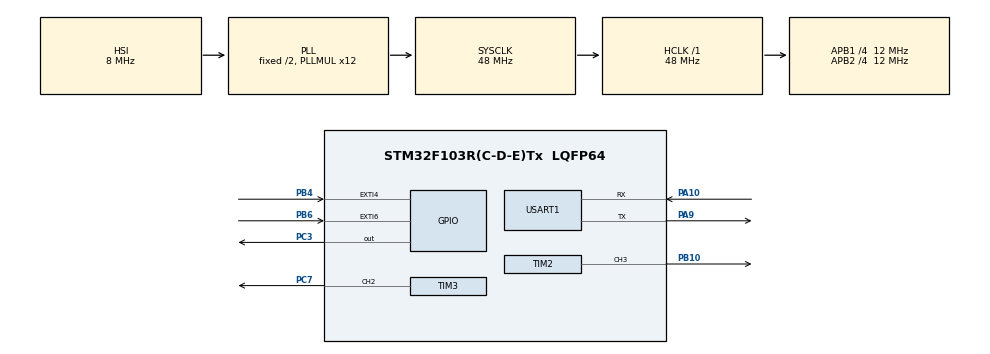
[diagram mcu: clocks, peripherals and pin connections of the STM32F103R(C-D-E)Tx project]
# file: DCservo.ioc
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Mcu.Family=STM32F1
Mcu.Name=STM32F103R(C-D-E)Tx
Mcu.Package=LQFP64
NVIC.EXTI4_IRQn=true\:0\:0\:false\:false\:true\:true\:true
NVIC.EXTI9_5_IRQn=true\:0\:0\:false\:false\:true\:true\:true
NVIC.PriorityGroup=NVIC_PRIORITYGROUP_4
NVIC.TIM4_IRQn=true\:0\:0\:false\:false\:true\:true\:true
NVIC.TIM5_IRQn=true\:0\:0\:false\:false\:true\:true\:true
NVIC.USART1_IRQn=true\:0\:0\:false\:false\:true\:true\:true
PA10.Mode=Asynchronous
PA10.Signal=USART1_RX
PA13.Mode=Serial_Wire
PA13.Signal=SYS_JTMS-SWDIO
PA14.Mode=Serial_Wire
PA14.Signal=SYS_JTCK-SWCLK
PA9.Mode=Asynchronous
PA9.Signal=USART1_TX
PB10.Signal=S_TIM2_CH3
PB4.GPIO_ModeDefaultEXTI=GPIO_MODE_IT_RISING_FALLING
PB4.GPIO_PuPd=GPIO_PULLUP
PB4.Signal=GPXTI4
PB6.GPIO_ModeDefaultEXTI=GPIO_MODE_IT_RISING_FALLING
PB6.GPIO_PuPd=GPIO_PULLUP
PB6.Signal=GPXTI6
PC3.GPIO_PuPd=GPIO_NOPULL
PC3.Signal=GPIO_Output
PC7.Signal=S_TIM3_CH2
ProjectManager.HeapSize=0x200
ProjectManager.StackSize=0x400
ProjectManager.TargetToolchain=MDK-ARM V5
RCC.AHBFreq_Value=48000000
RCC.APB1CLKDivider=RCC_HCLK_DIV4
RCC.APB1Freq_Value=12000000
RCC.APB1TimFreq_Value=24000000
RCC.APB2CLKDivider=RCC_HCLK_DIV4
RCC.APB2Freq_Value=12000000
RCC.APB2TimFreq_Value=24000000
RCC.HCLKFreq_Value=48000000
RCC.PLLMUL=RCC_PLL_MUL12
RCC.SYSCLKFreq_VALUE=48000000
RCC.SYSCLKSource=RCC_SYSCLKSOURCE_PLLCLK
RCC.USBFreq_Value=48000000
SH.S_TIM2_CH3.0=TIM2_CH3,PWM Generation3 CH3
SH.S_TIM3_CH2.0=TIM3_CH2,PWM Generation2 CH2
TIM2.Channel-PWM\ Generation3\ CH3=TIM_CHANNEL_3
TIM2.Period=100
TIM2.Prescaler=11
TIM3.Channel-PWM\ Generation2\ CH2=TIM_CHANNEL_2
TIM3.Period=100
TIM3.Prescaler=11
TIM4.Period=4
TIM4.Prescaler=23999
TIM5.Period=9
TIM5.Prescaler=23999
USART1.VirtualMode=VM_ASYNC
VP_TIM4_VS_ClockSourceINT.Mode=Internal
VP_TIM5_VS_ClockSourceINT.Mode=Internal
board=custom

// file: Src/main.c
/* USER CODE BEGIN Header */
/**
  ******************************************************************************
  * @file           : main.c
  * @brief          : Main program body
  ******************************************************************************
  ** This notice applies to any and all portions of this file
  * that are not between comment pairs USER CODE BEGIN and
  * USER CODE END. Other portions of this file, whether
  * inserted by the user or by software development tools
  * are owned by their respective copyright owners.
  *
  * COPYRIGHT(c) 2019 STMicroelectronics
  *
  * Redistribution and use in source and binary forms, with or without modification,
  * are permitted provided that the following conditions are met:
  *   1. Redistributions of source code must retain the above copyright notice,
  *      this list of conditions and the following disclaimer.
  *   2. Redistributions in binary form must reproduce the above copyright notice,
  *      this list of conditions and the following disclaimer in the documentation
  *      and/or other materials provided with the distribution.
  *   3. Neither the name of STMicroelectronics nor the names of its contributors
  *      may be used to endorse or promote products derived from this software
  *      without specific prior written permission.
  *
  * THIS SOFTWARE IS PROVIDED BY THE COPYRIGHT HOLDERS AND CONTRIBUTORS "AS IS"
  * AND ANY EXPRESS OR IMPLIED WARRANTIES, INCLUDING, BUT NOT LIMITED TO, THE
  * IMPLIED WARRANTIES OF MERCHANTABILITY AND FITNESS FOR A PARTICULAR PURPOSE ARE
  * DISCLAIMED. IN NO EVENT SHALL THE COPYRIGHT HOLDER OR CONTRIBUTORS BE LIABLE
  * FOR ANY DIRECT, INDIRECT, INCIDENTAL, SPECIAL, EXEMPLARY, OR CONSEQUENTIAL
  * DAMAGES (INCLUDING, BUT NOT LIMITED TO, PROCUREMENT OF SUBSTITUTE GOODS OR
  * SERVICES; LOSS OF USE, DATA, OR PROFITS; OR BUSINESS INTERRUPTION) HOWEVER
  * CAUSED AND ON ANY THEORY OF LIABILITY, WHETHER IN CONTRACT, STRICT LIABILITY,
  * OR TORT (INCLUDING NEGLIGENCE OR OTHERWISE) ARISING IN ANY WAY OUT OF THE USE
  * OF THIS SOFTWARE, EVEN IF ADVISED OF THE POSSIBILITY OF SUCH DAMAGE.
  *
  ******************************************************************************
  */
/* USER CODE END Header */

#include "main.h"

/* USER CODE BEGIN Includes */
#include "string.h"
#include "stdio.h"
#include "stdlib.h"
#include "stdbool.h"
#include "stdint.h"
/* USER CODE END Includes */

#define pi 3.1415
#define p2r pi/2000

float Kp = 2.0;
float Ki = 0.0;
float Kd = 0.1;
float dt = 0.005;

#define MAX_PWM 99
#define MIN_PWM 0

/* USER CODE BEGIN PD */
float integral = 0.0;  // Giá trị tích phân
float prev_error = 0.0;  // Sai số trước đó
int16_t mv_pwm;
float setpoint_rad;
float setpoint_mm = 100;

/* USER CODE END PD */

TIM_HandleTypeDef htim2;
TIM_HandleTypeDef htim3;
TIM_HandleTypeDef htim4;
TIM_HandleTypeDef htim5;

UART_HandleTypeDef huart1;

/* USER CODE BEGIN PV */
int32_t PosCnt,Cnttmp,speed;
int16_t CountValue=0,RealVel,DesiredSpeed,HILIM,LOLIM;
uint16_t AngPos1, AngPos0,CntVel;
uint8_t PreviousState,pwm,Speedmode,tick=0;
bool run=false, dir;
float CurPos=0,DesiredPos,CurVel;
char Rx_indx, Rx_Buffer[20],Rx_data[2];

float cv_rad;
float setpoint = 380;
float error, proportional, derivative;

typedef enum
{
  RIGHT_DIRECTION,
  LEFT_DIRECTION
} enum_dir_t;
/* USER CODE END PV */

void SystemClock_Config(void);
static void MX_GPIO_Init(void);
static void MX_TIM2_Init(void);
static void MX_TIM3_Init(void);
static void MX_USART1_UART_Init(void);
static void MX_TIM4_Init(void);
static void MX_TIM5_Init(void);
/* USER CODE BEGIN PFP */
void HAL_TIM_MspPostInit(TIM_HandleTypeDef *htim);
int SetVelLow(float CurrentPos, float Pos);
int SetVelMid(float CurrentPos, float Pos, float CurrentVel);
int SetVelHigh(float CurrentPos, float Pos, float CurrentVel);
/* USER CODE END PFP */

/* USER CODE BEGIN 0 */
#ifdef __GNUC__
	#define PUTCHAR_PROTOTYPE int __io_putchar(int ch)
#else
	#define PUTCHAR_PROTOTYPE int fputc(int ch, FILE *f)
	#define GETCHAR_PROTOTYPE int fgetc(FILE *f)
#endif
	PUTCHAR_PROTOTYPE
	{
		HAL_UART_Transmit(&huart1, (uint8_t*)&ch,1,100);
		return ch;
	}

/**
 * @brief Turn off DC motor and test
 *
 */
void test_dc_motor_off(void)
{
  // Turn on PC3
  HAL_GPIO_WritePin(GPIOC, GPIO_PIN_3, GPIO_PIN_SET);

  // Turn on PWM
  __HAL_TIM_SetCompare(&htim3, TIM_CHANNEL_2,0); // set pwm
}

void test_motor_control(enum_dir_t direction, int16_t pwm)
{
  // Turn on PC3
  HAL_GPIO_WritePin(GPIOC, GPIO_PIN_3, (uint8_t)(direction));
  __HAL_TIM_SetCompare(&htim3, TIM_CHANNEL_2,pwm); // set pwm
}

int16_t PID(float pos_sp, float pos_cv)
{
  error = pos_sp - pos_cv;

  integral = integral + error * dt;

  derivative = (error - prev_error) / dt;

  int16_t mv = (int16_t)(Kp*error + Ki*integral + Kd*derivative);

  prev_error = error;

  if (mv > 99)
  {
    mv = 99;
  }
  else if (mv < -99)
  {
    mv = -99;
  }

  // Return value
  return mv;
}

	// Ham ngat Uart
void HAL_UART_RxCpltCallback(UART_HandleTypeDef *huart)
	{
		uint8_t i;
		if(huart->Instance == USART1) //uart1
		{
				if(Rx_indx==0) {for (i=0;i<20;i++) Rx_Buffer[i] = 0;}

		switch(Rx_data[0]) {
            /* dung dong co */
            case 'e':
                run =false;
                break;

            case 'p':
                Kp = atoi(Rx_Buffer);
                memset(Rx_Buffer, 0, sizeof(Rx_Buffer));
                Rx_indx = 0;
                break;

            case 'i':
                Ki = atoi(Rx_Buffer);
                memset(Rx_Buffer, 0, sizeof(Rx_Buffer));
                Rx_indx = 0;
                break;

            case 'd':
                Kd = atoi(Rx_Buffer);
                memset(Rx_Buffer, 0, sizeof(Rx_Buffer));
                Rx_indx = 0;
                break;

            /* dong co chay */
            case 'r':
                run = true;
                break;
            case 'b':
//								reset();
								break;
            case 's':
                setpoint_rad = atoi(Rx_Buffer);
                memset(Rx_Buffer, 0, sizeof(Rx_Buffer));
                Rx_indx = 0;
                break;
            case 'v':
                //DesiredSpeed = atoi(Rx_Buffer);
                setpoint = atoi(Rx_Buffer);
                memset(Rx_Buffer, 0, sizeof(Rx_Buffer));
                Rx_indx = 0;
                break;
            case '0':
            case '1':
            case '2':
            case '3':
            case '4':
            case '5':
            case '6':
            case '7':
            case '8':
            case '9':
            case '.':
            case '-':
                Rx_Buffer[Rx_indx++] |= Rx_data[0];
                break;
            default:
                break;
        }
				HAL_UART_Receive_IT(&huart1,(uint8_t*)Rx_data,1);
		}
	}

void EXTI9_5_IRQHandler(void)	// doc encoder
{
  /* USER CODE BEGIN EXTI9_5_IRQn 0 */
unsigned char State0;
	State0 = (State0<<1) | HAL_GPIO_ReadPin(GPIOB, GPIO_PIN_4);
	State0 = (State0<<1) | HAL_GPIO_ReadPin(GPIOB, GPIO_PIN_6);
	State0 = State0&0x03;
	switch (State0) {
		case 0:
			if(PreviousState==1) CountValue++;
			else CountValue--;
		break;
		case 1:
			if(PreviousState==3) CountValue++;
			else CountValue--;
		break;
		case 2:
			if(PreviousState==0) CountValue++;
			else CountValue--;
		break;
		case 3:
			if(PreviousState==2) CountValue++;
			else CountValue--;
		break;
		}
	PreviousState = State0;
	CntVel++;
	if (CountValue>=2000) {
		CountValue = 0;
		PosCnt++;
	}
	else if	(CountValue<=-2000) {
		CountValue = 0;
		PosCnt--;
	}
  /* USER CODE END EXTI4_IRQn 0 */
  HAL_GPIO_EXTI_IRQHandler(GPIO_PIN_6);
  /* USER CODE BEGIN EXTI4_IRQn 1 */
}

/**
* @brief This function handles EXTI line3 interrupt.
*/
void EXTI4_IRQHandler(void)	// doc encoder
{
  /* USER CODE BEGIN EXTI4_IRQn 0 */
	// CHANNEL A
unsigned char State1;
	State1 = (State1<<1) | HAL_GPIO_ReadPin(GPIOB, GPIO_PIN_4);
	State1 = (State1<<1) | HAL_GPIO_ReadPin(GPIOB, GPIO_PIN_6);
	State1 = State1&0x03;
	switch (State1) {
		case 0:
			if(PreviousState==1) CountValue++;
			else CountValue--;
		break;
		case 1:
			if(PreviousState==3) CountValue++;
			else CountValue--;
		break;
		case 2:
			if(PreviousState==0) CountValue++;
			else CountValue--;
		break;
		case 3:
			if(PreviousState==2) CountValue++;
			else CountValue--;
		break;
		}
	PreviousState = State1;
	CntVel++;
	if (CountValue>=2000) {
		CountValue = 0;
		PosCnt++;
	}
	else if	(CountValue<=-2000) {
		CountValue = 0;
		PosCnt--;
	}
  /* USER CODE END EXTI3_IRQn 0 */
  HAL_GPIO_EXTI_IRQHandler(GPIO_PIN_4);
  /* USER CODE BEGIN EXTI3_IRQn 1 */

  /* USER CODE END EXTI3_IRQn 1 */
}

void HAL_TIM_PeriodElapsedCallback(TIM_HandleTypeDef *htim) {	// ngat timer 4 tinh van toc
	if(htim->Instance==TIM4)	// ngat do timer 4	5ms
	{
		CurPos = PosCnt*2*pi+CountValue*p2r;	// Position calculation
		Cnttmp = CntVel;
		CntVel = 0;
		RealVel = Cnttmp*6;										//RPM
		CurVel = Cnttmp*pi/5;								//rad/s

    if (run == true)
    {
      mv_pwm = PID(setpoint_rad, CurPos);

      if (mv_pwm > 0)
      {
        test_motor_control(LEFT_DIRECTION, mv_pwm);
      }
      else
      {
        test_motor_control(RIGHT_DIRECTION, mv_pwm*(-1));
      }

    }
    else
    {
      test_dc_motor_off();
    }

		return;
	}
	if(htim->Instance==TIM5)
	{
//		ut=5*pi*time;	// ham chay theo thoi gian u(t)=5*pi(t);	// timer 5
//		time+=0.01;
			tick++;
			if (run==1) {
				if(DesiredSpeed<=340) Speedmode = 1;
				else if((DesiredSpeed>340)&&(DesiredSpeed<750))	Speedmode = 2;
				else if(DesiredSpeed>=750) Speedmode = 4;
				}
			if (run==0){
					pwm = 0;
					Speedmode =0;
			}
			if ((run==1)&&(tick==5)){
				tick=0;
				printf("V%d\r \n",RealVel);
				printf("P%f\r \n",CurPos);
			}
	}

}
int SetVelLow(float CurrentPos, float Pos)
{
	HILIM=10,LOLIM=0;
	float uout;

	// STUDENTS ADD CODE FOR SLOW SPEED HERE

	if (uout>HILIM) uout=HILIM;
	else if(uout<LOLIM) uout=LOLIM;
	return uout;
}
int SetVelMid(float CurrentPos, float Pos, float CurrentVel)
{
	HILIM=20,LOLIM=0;
	float uout;

	// STUDENTS ADD CODES FOR MIDDLE SPEED HERE

	if (uout>HILIM) uout=HILIM;
	else if(uout<LOLIM) uout=LOLIM;
	return uout;
}
int SetVelHigh(float CurrentPos, float Pos, float CurrentVel)
{
	HILIM=99,LOLIM=0;
	float uout;

	// STUDENTS ADD CODES FOR HIGH SPEED HERE

	if (uout>HILIM) uout=HILIM;
	else if( uout<LOLIM) uout=LOLIM;

	return uout;
}

/**
 * @brief Turn on DC motor and test
 *
 */
void test_dc_motor_on(void)
{
  // Turn on PC3
  HAL_GPIO_WritePin(GPIOC, GPIO_PIN_3, GPIO_PIN_SET);

  // Turn on PWM
  __HAL_TIM_SetCompare(&htim3, TIM_CHANNEL_2,99); // set pwm
}

/* USER CODE END 0 */

int main(void)
{

  /* MCU Configuration--------------------------------------------------------*/

  /* Reset of all peripherals, Initializes the Flash interface and the Systick. */
  HAL_Init();

  /* Configure the system clock */
  SystemClock_Config();

  /* Initialize all configured peripherals */
  MX_GPIO_Init();
  MX_TIM2_Init();
  MX_TIM3_Init();
  MX_USART1_UART_Init();
  MX_TIM4_Init();
  MX_TIM5_Init();
  /* USER CODE BEGIN 2 */
	//HAL_TIM_PWM_Start(&htim2, TIM_CHANNEL_3);	// khoi tao timer 2
	HAL_TIM_PWM_Start(&htim3, TIM_CHANNEL_2);	// khoi tao timer 3
	HAL_TIM_Base_Start_IT(&htim4);						// khoi tao timer 4
	HAL_TIM_Base_Start_IT(&htim5);						// khoi tao timer 5
	HAL_UART_Receive_IT(&huart1,(uint8_t*)Rx_data,1);
  /* USER CODE END 2 */
  /* Infinite loop */
  while (1)
  {

  }
}

void SystemClock_Config(void)
{
  RCC_OscInitTypeDef RCC_OscInitStruct = {0};
  RCC_ClkInitTypeDef RCC_ClkInitStruct = {0};

  /**Initializes the CPU, AHB and APB busses clocks
  */
  RCC_OscInitStruct.OscillatorType = RCC_OSCILLATORTYPE_HSI;
  RCC_OscInitStruct.HSIState = RCC_HSI_ON;
  RCC_OscInitStruct.HSICalibrationValue = RCC_HSICALIBRATION_DEFAULT;
  RCC_OscInitStruct.PLL.PLLState = RCC_PLL_ON;
  RCC_OscInitStruct.PLL.PLLSource = RCC_PLLSOURCE_HSI_DIV2;
  RCC_OscInitStruct.PLL.PLLMUL = RCC_PLL_MUL12;
  if (HAL_RCC_OscConfig(&RCC_OscInitStruct) != HAL_OK)
  {
    Error_Handler();
  }
  /**Initializes the CPU, AHB and APB busses clocks
  */
  RCC_ClkInitStruct.ClockType = RCC_CLOCKTYPE_HCLK|RCC_CLOCKTYPE_SYSCLK
                              |RCC_CLOCKTYPE_PCLK1|RCC_CLOCKTYPE_PCLK2;
  RCC_ClkInitStruct.SYSCLKSource = RCC_SYSCLKSOURCE_PLLCLK;
  RCC_ClkInitStruct.AHBCLKDivider = RCC_SYSCLK_DIV1;
  RCC_ClkInitStruct.APB1CLKDivider = RCC_HCLK_DIV4;
  RCC_ClkInitStruct.APB2CLKDivider = RCC_HCLK_DIV4;

  if (HAL_RCC_ClockConfig(&RCC_ClkInitStruct, FLASH_LATENCY_1) != HAL_OK)
  {
    Error_Handler();
  }
}

static void MX_TIM2_Init(void)
{

  TIM_MasterConfigTypeDef sMasterConfig = {0};
  TIM_OC_InitTypeDef sConfigOC = {0};

  htim2.Instance = TIM2;
  htim2.Init.Prescaler = 11;
  htim2.Init.CounterMode = TIM_COUNTERMODE_UP;
  htim2.Init.Period = 100;
  htim2.Init.ClockDivision = TIM_CLOCKDIVISION_DIV1;
  htim2.Init.AutoReloadPreload = TIM_AUTORELOAD_PRELOAD_DISABLE;
  if (HAL_TIM_PWM_Init(&htim2) != HAL_OK)
  {
    Error_Handler();
  }
  sMasterConfig.MasterOutputTrigger = TIM_TRGO_RESET;
  sMasterConfig.MasterSlaveMode = TIM_MASTERSLAVEMODE_DISABLE;
  if (HAL_TIMEx_MasterConfigSynchronization(&htim2, &sMasterConfig) != HAL_OK)
  {
    Error_Handler();
  }
  sConfigOC.OCMode = TIM_OCMODE_PWM1;
  sConfigOC.Pulse = 0;
  sConfigOC.OCPolarity = TIM_OCPOLARITY_HIGH;
  sConfigOC.OCFastMode = TIM_OCFAST_DISABLE;
  if (HAL_TIM_PWM_ConfigChannel(&htim2, &sConfigOC, TIM_CHANNEL_3) != HAL_OK)
  {
    Error_Handler();
  }
  HAL_TIM_MspPostInit(&htim2);

}

static void MX_TIM3_Init(void)
{

  TIM_MasterConfigTypeDef sMasterConfig = {0};
  TIM_OC_InitTypeDef sConfigOC = {0};

  htim3.Instance = TIM3;
  htim3.Init.Prescaler = 11;
  htim3.Init.CounterMode = TIM_COUNTERMODE_UP;
  htim3.Init.Period = 100;
  htim3.Init.ClockDivision = TIM_CLOCKDIVISION_DIV1;
  htim3.Init.AutoReloadPreload = TIM_AUTORELOAD_PRELOAD_DISABLE;
  if (HAL_TIM_PWM_Init(&htim3) != HAL_OK)
  {
    Error_Handler();
  }
  sMasterConfig.MasterOutputTrigger = TIM_TRGO_RESET;
  sMasterConfig.MasterSlaveMode = TIM_MASTERSLAVEMODE_DISABLE;
  if (HAL_TIMEx_MasterConfigSynchronization(&htim3, &sMasterConfig) != HAL_OK)
  {
    Error_Handler();
  }
  sConfigOC.OCMode = TIM_OCMODE_PWM1;
  sConfigOC.Pulse = 0;
  sConfigOC.OCPolarity = TIM_OCPOLARITY_HIGH;
  sConfigOC.OCFastMode = TIM_OCFAST_DISABLE;
  if (HAL_TIM_PWM_ConfigChannel(&htim3, &sConfigOC, TIM_CHANNEL_2) != HAL_OK)
  {
    Error_Handler();
  }
  HAL_TIM_MspPostInit(&htim3);

}

static void MX_TIM4_Init(void)
{

  TIM_ClockConfigTypeDef sClockSourceConfig = {0};
  TIM_MasterConfigTypeDef sMasterConfig = {0};

  htim4.Instance = TIM4;
  htim4.Init.Prescaler = 23999;
  htim4.Init.CounterMode = TIM_COUNTERMODE_UP;
  htim4.Init.Period = 4;
  htim4.Init.ClockDivision = TIM_CLOCKDIVISION_DIV1;
  htim4.Init.AutoReloadPreload = TIM_AUTORELOAD_PRELOAD_DISABLE;
  if (HAL_TIM_Base_Init(&htim4) != HAL_OK)
  {
    Error_Handler();
  }
  sClockSourceConfig.ClockSource = TIM_CLOCKSOURCE_INTERNAL;
  if (HAL_TIM_ConfigClockSource(&htim4, &sClockSourceConfig) != HAL_OK)
  {
    Error_Handler();
  }
  sMasterConfig.MasterOutputTrigger = TIM_TRGO_RESET;
  sMasterConfig.MasterSlaveMode = TIM_MASTERSLAVEMODE_DISABLE;
  if (HAL_TIMEx_MasterConfigSynchronization(&htim4, &sMasterConfig) != HAL_OK)
  {
    Error_Handler();
  }

}

static void MX_TIM5_Init(void)
{

  TIM_ClockConfigTypeDef sClockSourceConfig = {0};
  TIM_MasterConfigTypeDef sMasterConfig = {0};

  htim5.Instance = TIM5;
  htim5.Init.Prescaler = 23999;
  htim5.Init.CounterMode = TIM_COUNTERMODE_UP;
  htim5.Init.Period = 9;
  htim5.Init.ClockDivision = TIM_CLOCKDIVISION_DIV1;
  htim5.Init.AutoReloadPreload = TIM_AUTORELOAD_PRELOAD_DISABLE;
  if (HAL_TIM_Base_Init(&htim5) != HAL_OK)
  {
    Error_Handler();
  }
  sClockSourceConfig.ClockSource = TIM_CLOCKSOURCE_INTERNAL;
  if (HAL_TIM_ConfigClockSource(&htim5, &sClockSourceConfig) != HAL_OK)
  {
    Error_Handler();
  }
  sMasterConfig.MasterOutputTrigger = TIM_TRGO_RESET;
  sMasterConfig.MasterSlaveMode = TIM_MASTERSLAVEMODE_DISABLE;
  if (HAL_TIMEx_MasterConfigSynchronization(&htim5, &sMasterConfig) != HAL_OK)
  {
    Error_Handler();
  }

}

static void MX_USART1_UART_Init(void)
{

  huart1.Instance = USART1;
  huart1.Init.BaudRate = 115200;
  huart1.Init.WordLength = UART_WORDLENGTH_8B;
  huart1.Init.StopBits = UART_STOPBITS_1;
  huart1.Init.Parity = UART_PARITY_NONE;
  huart1.Init.Mode = UART_MODE_TX_RX;
  huart1.Init.HwFlowCtl = UART_HWCONTROL_NONE;
  huart1.Init.OverSampling = UART_OVERSAMPLING_16;
  if (HAL_UART_Init(&huart1) != HAL_OK)
  {
    Error_Handler();
  }

}

static void MX_GPIO_Init(void)
{
  GPIO_InitTypeDef GPIO_InitStruct = {0};

  /* GPIO Ports Clock Enable */
  __HAL_RCC_GPIOC_CLK_ENABLE();
  __HAL_RCC_GPIOB_CLK_ENABLE();
  __HAL_RCC_GPIOA_CLK_ENABLE();

  /*Configure GPIO pin Output Level */
  HAL_GPIO_WritePin(GPIOC, GPIO_PIN_3, GPIO_PIN_RESET);

  /*Configure GPIO pin : PC3 */
  GPIO_InitStruct.Pin = GPIO_PIN_3;
  GPIO_InitStruct.Mode = GPIO_MODE_OUTPUT_PP;
  GPIO_InitStruct.Pull = GPIO_NOPULL;
  GPIO_InitStruct.Speed = GPIO_SPEED_FREQ_LOW;
  HAL_GPIO_Init(GPIOC, &GPIO_InitStruct);

  /*Configure GPIO pins : PB4 PB6 */
  GPIO_InitStruct.Pin = GPIO_PIN_4|GPIO_PIN_6;
  GPIO_InitStruct.Mode = GPIO_MODE_IT_RISING_FALLING;
  GPIO_InitStruct.Pull = GPIO_PULLUP;
  HAL_GPIO_Init(GPIOB, &GPIO_InitStruct);

  /* EXTI interrupt init*/
  HAL_NVIC_SetPriority(EXTI4_IRQn, 0, 0);
  HAL_NVIC_EnableIRQ(EXTI4_IRQn);

  HAL_NVIC_SetPriority(EXTI9_5_IRQn, 0, 0);
  HAL_NVIC_EnableIRQ(EXTI9_5_IRQn);

}

void Error_Handler(void)
{
}

/************************ (C) COPYRIGHT STMicroelectronics *****END OF FILE****/
